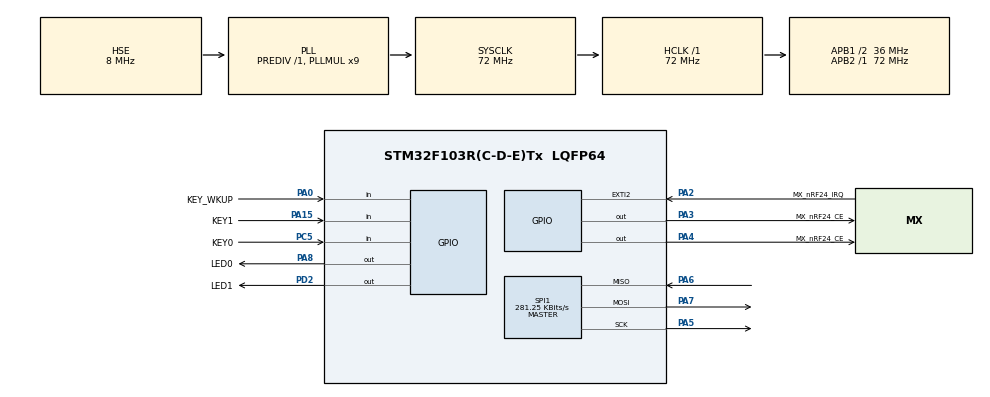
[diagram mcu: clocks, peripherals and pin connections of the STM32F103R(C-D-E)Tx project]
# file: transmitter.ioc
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Mcu.Family=STM32F1
Mcu.Name=STM32F103R(C-D-E)Tx
Mcu.Package=LQFP64
NVIC.EXTI2_IRQn=true\:0\:0\:false\:false\:true\:true\:true\:true
NVIC.PriorityGroup=NVIC_PRIORITYGROUP_2
NVIC.SPI1_IRQn=true\:0\:0\:false\:false\:true\:true\:true\:true
PA0-WKUP.GPIO_Label=KEY_WKUP
PA0-WKUP.GPIO_PuPd=GPIO_PULLDOWN
PA0-WKUP.Signal=GPIO_Input
PA13.Mode=Serial_Wire
PA13.Signal=SYS_JTMS-SWDIO
PA14.Mode=Serial_Wire
PA14.Signal=SYS_JTCK-SWCLK
PA15.GPIO_Label=KEY1
PA15.GPIO_PuPd=GPIO_PULLUP
PA15.Signal=GPIO_Input
PA2.GPIO_Label=MX_nRF24_IRQ
PA2.GPIO_ModeDefaultEXTI=GPIO_MODE_IT_FALLING
PA2.Signal=GPXTI2
PA3.GPIO_Label=MX_nRF24_CE
PA3.GPIO_Speed=GPIO_SPEED_FREQ_HIGH
PA3.Signal=GPIO_Output
PA4.GPIO_Label=MX_nRF24_CE
PA4.GPIO_Speed=GPIO_SPEED_FREQ_HIGH
PA4.Signal=GPIO_Output
PA5.Mode=Full_Duplex_Master
PA5.Signal=SPI1_SCK
PA6.Mode=Full_Duplex_Master
PA6.Signal=SPI1_MISO
PA7.Mode=Full_Duplex_Master
PA7.Signal=SPI1_MOSI
PA8.GPIO_Label=LED0
PA8.GPIO_Speed=GPIO_SPEED_FREQ_HIGH
PA8.PinState=GPIO_PIN_RESET
PA8.Signal=GPIO_Output
PC5.GPIO_Label=KEY0
PC5.GPIO_PuPd=GPIO_PULLUP
PC5.Signal=GPIO_Input
PD0-OSC_IN.Mode=HSE-External-Oscillator
PD0-OSC_IN.Signal=RCC_OSC_IN
PD1-OSC_OUT.Mode=HSE-External-Oscillator
PD1-OSC_OUT.Signal=RCC_OSC_OUT
PD2.GPIO_Label=LED1
PD2.GPIO_Speed=GPIO_SPEED_FREQ_HIGH
PD2.PinState=GPIO_PIN_RESET
PD2.Signal=GPIO_Output
ProjectManager.HeapSize=0x200
ProjectManager.StackSize=0x400
ProjectManager.TargetToolchain=STM32CubeIDE
RCC.AHBFreq_Value=72000000
RCC.APB1CLKDivider=RCC_HCLK_DIV2
RCC.APB1Freq_Value=36000000
RCC.APB1TimFreq_Value=72000000
RCC.APB2Freq_Value=72000000
RCC.APB2TimFreq_Value=72000000
RCC.HCLKFreq_Value=72000000
RCC.PLLMUL=RCC_PLL_MUL9
RCC.PLLSourceVirtual=RCC_PLLSOURCE_HSE
RCC.SYSCLKFreq_VALUE=72000000
RCC.SYSCLKSource=RCC_SYSCLKSOURCE_PLLCLK
RCC.USBFreq_Value=72000000
SPI1.BaudRatePrescaler=SPI_BAUDRATEPRESCALER_256
SPI1.CalculateBaudRate=281.25 KBits/s
SPI1.Direction=SPI_DIRECTION_2LINES
SPI1.Mode=SPI_MODE_MASTER
SPI1.VirtualType=VM_MASTER
TIM1.AutoReloadPreload=TIM_AUTORELOAD_PRELOAD_DISABLE
TIM1.Prescaler=71
VP_TIM1_VS_ClockSourceINT.Mode=Internal
board=custom

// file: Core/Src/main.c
/* USER CODE BEGIN Header */
/**
  ******************************************************************************
  * @file           : main.c
  * @brief          : Main program body
  ******************************************************************************
  * @attention
  *
  * Copyright (c) 2024 STMicroelectronics.
  * All rights reserved.
  *
  * This software is licensed under terms that can be found in the LICENSE file
  * in the root directory of this software component.
  * If no LICENSE file comes with this software, it is provided AS-IS.
  *
  ******************************************************************************
  */
/* USER CODE END Header */
#include "main.h"
#include "spi.h"
#include "tim.h"
#include "gpio.h"

/* USER CODE BEGIN Includes */
#include "lcd_v4.h"
#include "24l01.h"
#include "utils.h"
/* USER CODE END Includes */

void SystemClock_Config(void);

int main(void)
{

  /* MCU Configuration--------------------------------------------------------*/

  /* Reset of all peripherals, Initializes the Flash interface and the Systick. */
  HAL_Init();

  /* Configure the system clock */
  SystemClock_Config();

  /* Initialize all configured peripherals */
  MX_GPIO_Init();
  MX_SPI1_Init();
  MX_TIM1_Init();
  /* USER CODE BEGIN 2 */
  HAL_TIM_Base_Start(&htim1);
  lcd_init();
  NRF24L01_Init();
  uint8_t key,mode;
  uint16_t t = 0;
  uint8_t tmp_buf[33];

  lcd_show_string(30, 50, 200, 16, 16, "Mini STM32", BLACK);
  lcd_show_string(30, 70, 200, 16, 16, "NRF24L01 TEST", BLACK);
  lcd_show_string(30, 90, 200, 16, 16, "ATOM@ALIENTEK", BLACK);
  lcd_show_string(30, 110, 200, 16, 16, "2019/11/15", BLACK);
  while(NRF24L01_Check()) {
		lcd_show_string(30, 130, 200, 16, 16, "NRF24L01 Error", RED);
		HAL_Delay(200);
		lcd_fill(30, 130, 239, 130+16, WHITE);
		HAL_Delay(200);
  }
  lcd_show_string(30, 130, 200, 16, 16, "NRF24L01 OK", BLACK);
  while(1) {
		if(KEY0_PRESSED) {
			mode=0;
			break;
		} else if (KEY1_PRESSED) {
			mode=1;
			break;
		}
		t++;
		if (t == 100) lcd_show_string(10, 150, 230, 16, 16, "KEY0:RX_Mode  KEY1:TX_Mode", BLUE);
		if (t == 200) {
			lcd_fill(10, 150, 230, 150+16, WHITE);
			t = 0;
		}
		HAL_Delay(5);
  }
	lcd_fill(10,150,240,166,WHITE);
	if (mode==0) {
		lcd_show_string(30,150,200,16,16,"NRF24L01 RX_Mode", BLUE);
		lcd_show_string(30,170,200,16,16,"Received DATA:", BLUE);
		NRF24L01_RX_Mode();

	} else {
		lcd_show_string(30,150,200,16,16,"NRF24L01 TX_Mode", BLUE);
		NRF24L01_TX_Mode();
		mode=' ';
	}
  /* USER CODE END 2 */

  /* Infinite loop */
  /* USER CODE BEGIN WHILE */
  while (1)
  {
	  if (mode == 0) {
			if(NRF24L01_RxPacket(tmp_buf)==0)
			{
				tmp_buf[32]=0;
				lcd_show_string(0,190,lcddev.width-1,32,16,tmp_buf, BLUE);
			} else HAL_Delay_us(100);
			t++;
			if(t == 10000)
			{
				t=0;
				HAL_GPIO_TogglePin(LED0_GPIO_Port, LED0_Pin);
			}
	  } else {
		  HAL_GPIO_TogglePin(LED0_GPIO_Port, LED0_Pin);
		  HAL_Delay(700);
		  if (NRF24L01_TxPacket(tmp_buf)==TX_OK) {
				lcd_show_string(30,170,239,32,16,"Sended DATA:", BLUE);
				lcd_show_string(0, 190, lcddev.width-1, 32, 16, tmp_buf, BLUE);
				key=mode;
				for(t=0;t<32;t++)
				{
					key++;
					if(key>('~'))key=' ';
					tmp_buf[t]=key;
				}
				mode++;
				if (mode>'~') mode=' ';
				tmp_buf[32]=0;
			} else {
				lcd_fill(0, 170, lcddev.width, 170+16*3, WHITE);
				lcd_show_string(30, 170, lcddev.width-1, 32, 16, "Send Failed ", BLUE);
			};
			HAL_GPIO_TogglePin(LED0_GPIO_Port, LED0_Pin);
			HAL_Delay(700);
	  }
    /* USER CODE END WHILE */

  }
}

void SystemClock_Config(void)
{
  RCC_OscInitTypeDef RCC_OscInitStruct = {0};
  RCC_ClkInitTypeDef RCC_ClkInitStruct = {0};

  /** Initializes the RCC Oscillators according to the specified parameters
  * in the RCC_OscInitTypeDef structure.
  */
  RCC_OscInitStruct.OscillatorType = RCC_OSCILLATORTYPE_HSE;
  RCC_OscInitStruct.HSEState = RCC_HSE_ON;
  RCC_OscInitStruct.HSEPredivValue = RCC_HSE_PREDIV_DIV1;
  RCC_OscInitStruct.HSIState = RCC_HSI_ON;
  RCC_OscInitStruct.PLL.PLLState = RCC_PLL_ON;
  RCC_OscInitStruct.PLL.PLLSource = RCC_PLLSOURCE_HSE;
  RCC_OscInitStruct.PLL.PLLMUL = RCC_PLL_MUL9;
  if (HAL_RCC_OscConfig(&RCC_OscInitStruct) != HAL_OK)
  {
    Error_Handler();
  }

  /** Initializes the CPU, AHB and APB buses clocks
  */
  RCC_ClkInitStruct.ClockType = RCC_CLOCKTYPE_HCLK|RCC_CLOCKTYPE_SYSCLK
                              |RCC_CLOCKTYPE_PCLK1|RCC_CLOCKTYPE_PCLK2;
  RCC_ClkInitStruct.SYSCLKSource = RCC_SYSCLKSOURCE_PLLCLK;
  RCC_ClkInitStruct.AHBCLKDivider = RCC_SYSCLK_DIV1;
  RCC_ClkInitStruct.APB1CLKDivider = RCC_HCLK_DIV2;
  RCC_ClkInitStruct.APB2CLKDivider = RCC_HCLK_DIV1;

  if (HAL_RCC_ClockConfig(&RCC_ClkInitStruct, FLASH_LATENCY_2) != HAL_OK)
  {
    Error_Handler();
  }
}

void Error_Handler(void)
{
  __disable_irq();
  while (1)
  {
  }
}
